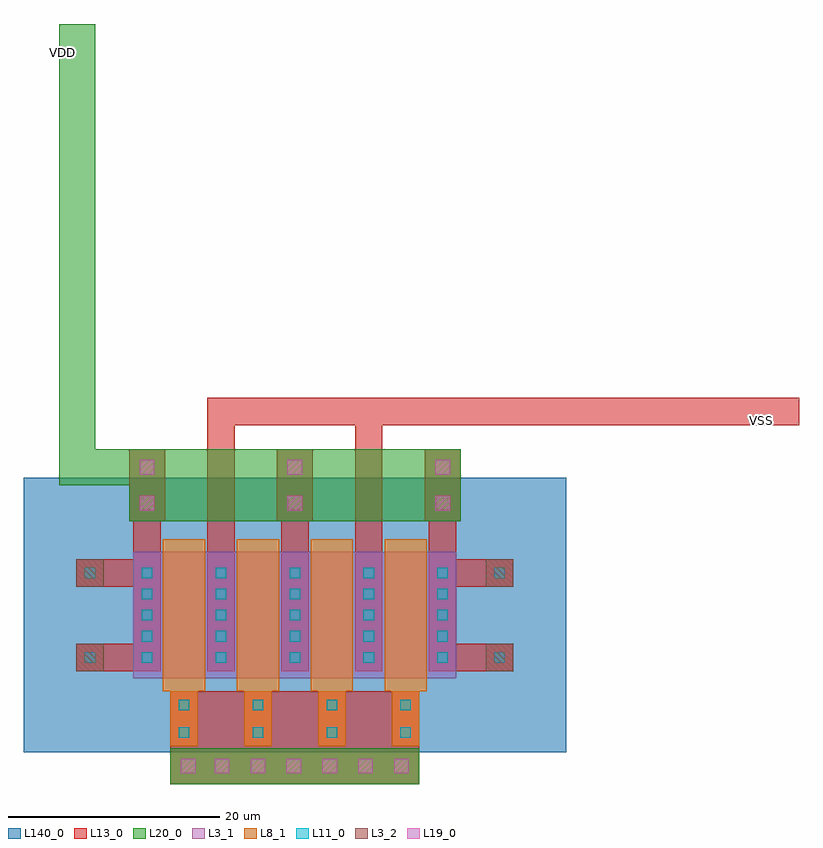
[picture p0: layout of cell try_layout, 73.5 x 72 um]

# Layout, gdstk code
import gdstk
lib = gdstk.Library(unit=1e-6, precision=1e-07)
def R(c, l, rs):  # rectangles x0, y0, x1, y1
    for r in rs: c.add(gdstk.rectangle(r[:2], r[2:], *l))
def A(c, l, x, y, w, h, nx, ny, dx, dy):  # array of equal rectangles
    R(c, l, [(x+i*dx, y+j*dy, x+i*dx+w, y+j*dy+h) for i in range(nx) for j in range(ny)])
L3_1 = (3, 1)
L3_2 = (3, 2)
L8_1 = (8, 1)
L11_0 = (11, 0)
L13_0 = (13, 0)
L19_0 = (19, 0)
L20_0 = (20, 0)
L140_0 = (140, 0)

fet_p = lib.new_cell('fet_p')
R(fet_p, L3_1, [(-15.3,-6,15.3,6)])
A(fet_p, L11_0, -14.5, -4.5, 1, 1, 5, 5, 7, 2)
A(fet_p, L13_0, -15.3, -5.3, 2.6, 10.6, 5, 1, 7, 0)
fet_p.add(gdstk.FlexPath([(3.5,-7.2),(3.5,7.2)], 4, ends="flush", simple_path=True, layer=8, datatype=1))  # L8_1
fet_p.add(gdstk.FlexPath([(-3.5,-7.2),(-3.5,7.2)], 4, ends="flush", simple_path=True, layer=8, datatype=1))  # L8_1
fet_p.add(gdstk.FlexPath([(10.5,-7.2),(10.5,7.2)], 4, ends="flush", simple_path=True, layer=8, datatype=1))  # L8_1
fet_p.add(gdstk.FlexPath([(-10.5,-7.2),(-10.5,7.2)], 4, ends="flush", simple_path=True, layer=8, datatype=1))  # L8_1

via_1 = lib.new_cell('via_1')
R(via_1, L13_0, [(-1.7,-1.7,1.7,1.7)])
R(via_1, L19_0, [(-0.7,-0.7,0.7,0.7)])
R(via_1, L20_0, [(-1.7,-1.7,1.7,1.7)])

cont_n = lib.new_cell('cont_n')
R(cont_n, L3_2, [(-1.3,-1.3,1.3,1.3)])
R(cont_n, L11_0, [(-0.5,-0.5,0.5,0.5)])
R(cont_n, L13_0, [(-1.3,-1.3,1.3,1.3)])

cont_g = lib.new_cell('cont_g')
R(cont_g, L8_1, [(-1.3,-1.3,1.3,1.3)])
R(cont_g, L11_0, [(-0.5,-0.5,0.5,0.5)])
R(cont_g, L13_0, [(-1.3,-1.3,1.3,1.3)])

try_layout = lib.new_cell('try_layout')
R(try_layout, L13_0, [(-11.8,87.4,11.8,87.6)])
R(try_layout, L140_0, [(-25.7,87,25.7,113)])
try_layout.add(gdstk.FlexPath([(11.8,91.5),(-11.8,91.5)], 2.6, ends="flush", simple_path=True, layer=13, datatype=0))  # L13_0
try_layout.add(gdstk.FlexPath([(20.7,104),(15.3,104)], 2.6, ends="flush", simple_path=True, layer=13, datatype=0))  # L13_0
try_layout.add(gdstk.FlexPath([(-15.3,96),(-20.7,96)], 2.6, ends="flush", simple_path=True, layer=13, datatype=0))  # L13_0
try_layout.add(gdstk.FlexPath([(-15.3,104),(-20.7,104)], 2.6, ends="flush", simple_path=True, layer=13, datatype=0))  # L13_0
try_layout.add(gdstk.FlexPath([(11.8,88.9),(-11.8,88.9)], 2.6, ends="flush", simple_path=True, layer=13, datatype=0))  # L13_0
try_layout.add(gdstk.FlexPath([(20.7,96),(15.3,96)], 2.6, ends="flush", simple_path=True, layer=13, datatype=0))  # L13_0
try_layout.add(gdstk.FlexPath([(14,105.3),(14,112.3)], 2.6, ends="flush", simple_path=True, layer=13, datatype=0))  # L13_0
try_layout.add(gdstk.FlexPath([(7,105.3),(7,119.3)], 2.6, ends="flush", simple_path=True, layer=13, datatype=0))  # L13_0
try_layout.add(gdstk.FlexPath([(-8.3,119.3),(8.3,119.3)], 2.6, ends="flush", simple_path=True, layer=13, datatype=0))  # L13_0
try_layout.add(gdstk.FlexPath([(8.3,119.3),(47.8,119.3)], 2.6, ends="flush", simple_path=True, layer=13, datatype=0))  # L13_0
try_layout.add(gdstk.FlexPath([(-7,105.3),(-7,119.3)], 2.6, ends="flush", simple_path=True, layer=13, datatype=0))  # L13_0
try_layout.add(gdstk.FlexPath([(-14,105.3),(-14,112.3)], 2.6, ends="flush", simple_path=True, layer=13, datatype=0))  # L13_0
try_layout.add(gdstk.FlexPath([(0,105.3),(0,112.3)], 2.6, ends="flush", simple_path=True, layer=13, datatype=0))  # L13_0
try_layout.add(gdstk.FlexPath([(15.7,110.6),(-15.7,110.6)], 3.4, ends="flush", simple_path=True, layer=20, datatype=0))  # L20_0
try_layout.add(gdstk.FlexPath([(-15.7,114),(-20.6,114),(-20.6,156)], 3.4, ends="flush", simple_path=True, layer=20, datatype=0))  # L20_0
try_layout.add(gdstk.FlexPath([(-15.7,114),(15.7,114)], 3.4, ends="flush", simple_path=True, layer=20, datatype=0))  # L20_0
try_layout.add(gdstk.Reference(fet_p, (0,100)))
try_layout.add(gdstk.Reference(via_1, (0,114)))
try_layout.add(gdstk.Reference(via_1, (0,110.6)))
try_layout.add(gdstk.Reference(via_1, (-0.1,85.7)))
try_layout.add(gdstk.Reference(via_1, (14,114)))
try_layout.add(gdstk.Reference(via_1, (14,110.6)))
try_layout.add(gdstk.Reference(cont_n, (19.4,104)))
try_layout.add(gdstk.Reference(via_1, (-14,110.6)))
try_layout.add(gdstk.Reference(via_1, (-14,114)))
try_layout.add(gdstk.Reference(cont_n, (-19.4,104)))
try_layout.add(gdstk.Reference(cont_n, (-19.4,96)))
try_layout.add(gdstk.Reference(cont_g, (-3.5,91.5)))
try_layout.add(gdstk.Reference(cont_g, (-10.5,88.9)))
try_layout.add(gdstk.Reference(cont_g, (-3.5,88.9)))
try_layout.add(gdstk.Reference(cont_g, (-10.5,91.5)))
try_layout.add(gdstk.Reference(via_1, (-10.1,85.7)))
try_layout.add(gdstk.Reference(via_1, (-6.9,85.7)))
try_layout.add(gdstk.Reference(via_1, (-3.5,85.7)))
try_layout.add(gdstk.Reference(cont_n, (19.4,96)))
try_layout.add(gdstk.Reference(cont_g, (3.5,91.5)))
try_layout.add(gdstk.Reference(cont_g, (10.5,91.5)))
try_layout.add(gdstk.Reference(cont_g, (3.5,88.9)))
try_layout.add(gdstk.Reference(cont_g, (10.5,88.9)))
try_layout.add(gdstk.Reference(via_1, (3.3,85.7)))
try_layout.add(gdstk.Reference(via_1, (6.7,85.7)))
try_layout.add(gdstk.Reference(via_1, (10.1,85.7)))
try_layout.add(gdstk.Label('VDD', (-22,153.3), layer=49, texttype=0))
try_layout.add(gdstk.Label('VSS', (44.2,118.4), layer=48, texttype=0))

lib.write_gds('try_layout.gds')
